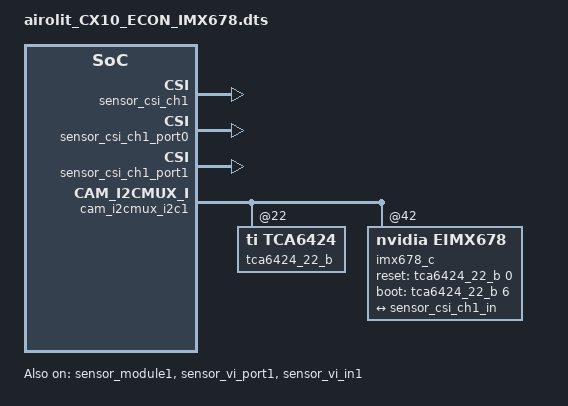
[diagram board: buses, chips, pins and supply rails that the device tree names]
// SPDX-License-Identifier: GPL-2.0
/*
 * Airolit CX10 - E-CON IMX678 Camera Overlay
 *
 * Requires: airolit_CX10_COMMON.dtbo loaded FIRST
 *
 * Enables:
 *   - sensor_module1
 *   - CSI channel 1 (port 1, 2 lanes)
 *   - VI port 1
 *   - I2C channel 1 with TCA6424 expander and E-CON IMX678 sensor
 *
 * Hardware:
 *   - Camera connector: CAM1
 *   - CSI port: 1
 *   - I2C address: 0x42
 *   - Video node: video1
 */

/dts-v1/;
/plugin/;

#define CAM0_PWDN    TEGRA234_MAIN_GPIO(H, 6)
#define CAM1_PWDN    TEGRA234_MAIN_GPIO(AC, 0)
#define CAM_I2C_MUX  TEGRA234_AON_GPIO(CC, 3)

#include <dt-bindings/clock/tegra234-clock.h>
#include <dt-bindings/gpio/tegra234-gpio.h>
#include <dt-bindings/tegra234-p3767-0000-common.h>

/ {
    overlay-name = "Airolit CX10 E-CON IMX678 Camera";
    jetson-header-name = "Jetson 24pin CSI Connector";
    compatible = JETSON_COMPATIBLE_P3768;

    // ========================================================================
    // FRAGMENT 0: Enable sensor_module1 for E-CON IMX678
    // ========================================================================
    fragment@0 {
        target = <&sensor_module1>;
        __overlay__ {
            status = "okay";
            badge = "imx678_front_econ";

            drivernode0 {
                status = "okay";
                devname = "e-con_cam 9-0042";
                sysfs-device-tree = "/sys/firmware/devicetree/base/bus@0/cam_i2cmux/i2c@1/imx678_c@42";
            };
        };
    };

    // ========================================================================
    // FRAGMENT 1: Enable VI port 2
    // ========================================================================
    fragment@1 {
        target = <&sensor_vi_port1>;
        __overlay__ {
            status = "okay";
        };
    };

    fragment@2 {
        target = <&sensor_vi_in1>;
        __overlay__ {
            status = "okay";
            bus-width = <2>;
        };
    };

    // ========================================================================
    // FRAGMENT 3: Enable CSI channel 2
    // ========================================================================
    fragment@3 {
        target = <&sensor_csi_ch1>;
        __overlay__ {
            status = "okay";
			ports {
				status = "okay";
			};
        };
    };

    fragment@4 {
        target = <&sensor_csi_ch1_port0>;
        __overlay__ {
            status = "okay";
        };
    };

    fragment@5 {
        target = <&sensor_csi_ch1_port1>;
        __overlay__ {
            status = "okay";
        };
    };

    fragment@6 {
        target = <&sensor_csi_ch1_in>;
        __overlay__ {
            status = "okay";
            bus-width = <2>;
            remote-endpoint = <&econ_imx678_out>;
        };
    };

    fragment@7 {
        target = <&sensor_csi_ch1_out>;
        __overlay__ {
            status = "okay";
        };
    };

    // ========================================================================
    // FRAGMENT 8: Enable and configure I2C channel 1 with E-CON IMX678 sensor
    // ========================================================================
    fragment@8 {
        /* Channel connected to CAM1 */
        target = <&cam_i2cmux_i2c1>;
        __overlay__ {
            status = "okay";

            // ============================================================
            // TCA6424: GPIO Expander for E-CON IMX678
            // ============================================================
            tca6424_22_b: tca6424@22 {
                compatible = "ti,tca6424";
                gpio-controller;
                #gpio-cells = <2>;
                reg = <0x22>;
                //vcc-supply = <&p3768_vdd_3v3_sys>;
                status = "okay";

                tca6424_22_outlow {
                    /*
                        * GPIO-0  : RST_CAM1
                        * GPIO-4  : TRIGGER_CAM1
                        * GPIO-6  : BOOT_CAM1
                        */
                    gpio-hog;
                    gpios = <0 0 1 0 2 0 3 0 4 0 5 0 6 0 7 1>;
                    output-low;
                    label = "tca6424_22_outlow_0",
                            "tca6424_22_outlow_1",
                            "tca6424_22_outlow_2",
                            "tca6424_22_outlow_3",
                            "tca6424_22_outlow_4",
                            "tca6424_22_outlow_5",
                            "tca6424_22_outlow_6",
                            "tca6424_22_outlow_7";
                };
                tca6424_22_outhigh {
                    status = "disabled";
                };
                tca6424_22_input {
                    status = "disabled";
                };
            };

            // ============================================================
            // IMX678: E-CON Camera Sensor
            // ============================================================
            imx678_c@42 {
                status = "okay";
                compatible = "nvidia,eimx678";
                reg = <0x42>;
                devnode = "video1";
                reset-gpios = <&tca6424_22_b 0 GPIO_ACTIVE_HIGH>;
                boot-gpios  = <&tca6424_22_b 6 GPIO_ACTIVE_HIGH>;
                master-select = <&tca6424_22_b 3 GPIO_ACTIVE_HIGH>;
                sensor_model = "imx678";
                physical_w = "5.60";
                physical_h = "3.175";
                post_crop_frame_drop = "0";
                use_decibel_gain = "true";
                use_sensor_mode_id = "true";
                use_dol_wdr_mode = "false";
                use_master_slave_mode = "true";
                limit_analog_gain = "true";
                camera_mipi_lanes = <2>;
                clocks = <&bpmp TEGRA234_CLK_EXTPERIPH1>,
                            <&bpmp TEGRA234_CLK_EXTPERIPH1>;
                clock-names = "extperiph1", "pllp_grtba";
                mclk = "extperiph1";
                mcu_fw_name = "imx678_cam_fw.bin";

                /* Sensor modes - from E-CON IMX678 definition */
                mode0 {
					mclk_khz = "37125";
					num_lanes = "2";
					tegra_sinterface = "serial_c";
					phy_mode = "DPHY";
					discontinuous_clk = "no";
					dpcm_enable = "false";
					cil_settletime = "0";
					dynamic_pixel_bit_depth = "12";
					csi_pixel_bit_depth = "12";
					mode_type = "bayer";
					pixel_phase = "rggb";

					active_w = "3840";
					active_h = "2160";
					readout_orientation = "0";
					line_length = "3840";
					inherent_gain = "1";
					mclk_multiplier = "10.67";
					pix_clk_hz = "346500000";
					gain_factor = "10";
					min_gain_val = "0";
					max_gain_val = "300";
					step_gain_val = "3";
					default_gain = "0";
					min_hdr_ratio = "1";
					max_hdr_ratio = "1";
					framerate_factor = "1000000";
					min_framerate = "2500000";
					max_framerate = "30000000";
					step_framerate = "1";
					default_framerate = "30000000";
					exposure_factor = "1000000";
					min_exp_time = "450";
					max_exp_time = "400000";
					step_exp_time = "1";
					default_exp_time = "33333";
					embedded_metadata_height = "1";
					min_trigger = "0";
					max_trigger = "1"; // 0-Disable, 1-Enable
					step_trigger = "1";
					default_trigger = "0";
				};

				mode1 {
					mclk_khz = "37125";
					num_lanes = "2";
					tegra_sinterface = "serial_c";
					phy_mode = "DPHY";
					discontinuous_clk = "no";
					dpcm_enable = "false";
					cil_settletime = "0";
					dynamic_pixel_bit_depth = "10";
					csi_pixel_bit_depth = "10";
					mode_type = "bayer";
					pixel_phase = "rggb";

					active_w = "3840";
					active_h = "2160";
					readout_orientation = "0";
					line_length = "3840";
					inherent_gain = "1";
					mclk_multiplier = "12.8";
					pix_clk_hz = "356400000";

					gain_factor = "10";
					min_gain_val = "0";
					max_gain_val = "300";
					step_gain_val = "3";
					default_gain = "0";
					min_hdr_ratio = "1";
					max_hdr_ratio = "1";
					framerate_factor = "1000000";
					min_framerate = "2500000";
					max_framerate = "30000000";
					step_framerate = "1";
					default_framerate = "30000000";
					exposure_factor = "1000000";
					min_exp_time = "450";
					max_exp_time = "400000";
					step_exp_time = "1";
					default_exp_time = "33333";
					embedded_metadata_height = "1";
					min_trigger = "0";
					max_trigger = "1"; // 0-Disable, 1-Enable
					step_trigger = "1";
					default_trigger = "0";
				};

				mode2 {
					mclk_khz = "37125";
					num_lanes = "2";
					tegra_sinterface = "serial_c";
					phy_mode = "DPHY";
					discontinuous_clk = "no";
					dpcm_enable = "false";
					cil_settletime = "0";
					dynamic_pixel_bit_depth = "12";
					csi_pixel_bit_depth = "12";
					mode_type = "bayer";
					pixel_phase = "rggb";

					active_w = "1920";
					active_h = "1080";
					readout_orientation = "0";
					line_length = "1920";
					inherent_gain = "1";
					mclk_multiplier = "12.8";
					pix_clk_hz = "240000000";
					gain_factor = "10";
					min_gain_val = "0";
					max_gain_val = "300";
					step_gain_val = "3";
					default_gain = "0";
					min_hdr_ratio = "1";
					max_hdr_ratio = "1";
					framerate_factor = "1000000";
					min_framerate = "2500000";
					max_framerate = "30000000";
					step_framerate = "1";
					default_framerate = "30000000";
					exposure_factor = "1000000";
					min_exp_time = "450";
					max_exp_time = "400000";
					step_exp_time = "1";
					default_exp_time = "33333";
					embedded_metadata_height = "1";
					min_trigger = "0";
					max_trigger = "1"; // 0-Disable, 1-Enable
					step_trigger = "1";
					default_trigger = "0";
				};

                ports {
                    #address-cells = <1>;
                    #size-cells = <0>;
                    port@0 {
                        reg = <0>;
                        econ_imx678_out: endpoint {
                            status = "okay";
                            port-index = <2>;
                            bus-width = <2>;
                            remote-endpoint = <&sensor_csi_ch1_in>;
                        };
                    };
                };
            };
        };
    };
};
